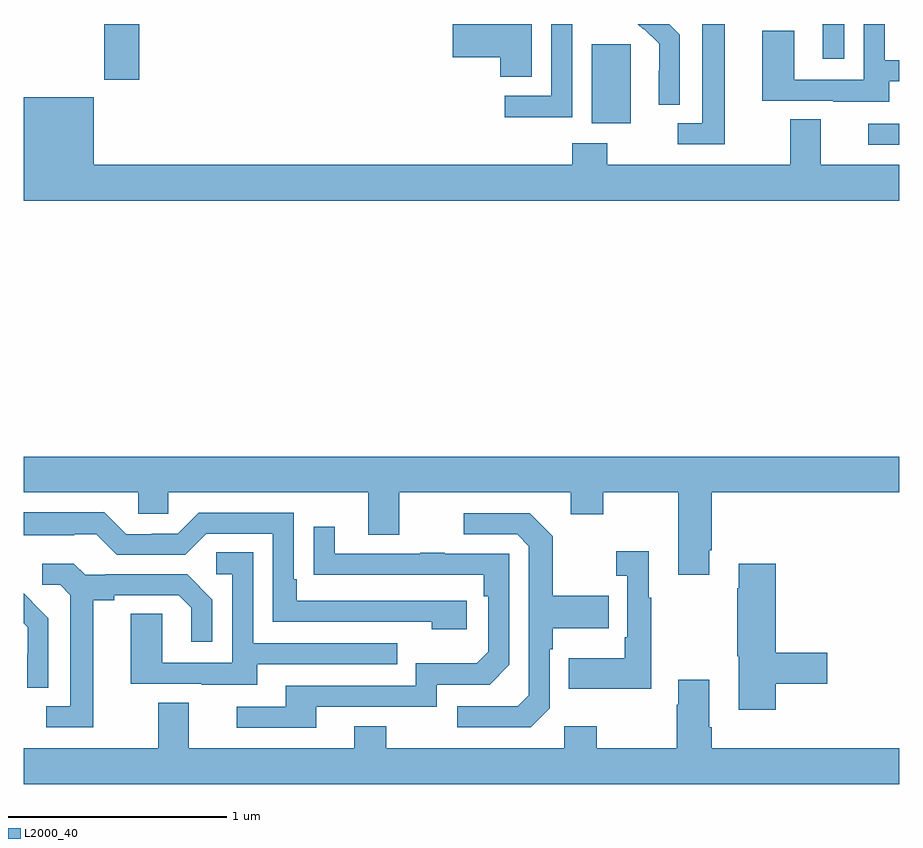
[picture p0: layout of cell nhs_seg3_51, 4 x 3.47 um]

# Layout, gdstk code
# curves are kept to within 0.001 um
import gdstk
lib = gdstk.Library(unit=1e-6, precision=1e-09)
def R(c, l, rs):  # rectangles x0, y0, x1, y1
    for r in rs: c.add(gdstk.rectangle(r[:2], r[2:], *l))
def P(c, l, *ps):  # polygons
    for p in ps: c.add(gdstk.Polygon(p, *l))
L2000_40 = (2000, 40)

nhs_seg3_51 = lib.new_cell('nhs_seg3_51')
R(nhs_seg3_51, L2000_40, [(116.859,691.848,117,691.944), (115.595,691.946,115.774,692.307), (113.368,692.145,113.528,692.4)])
P(nhs_seg3_51, L2000_40, [(116.953,692.139),(117,692.139),(117,692.235),(116.934,692.235),(116.934,692.4),(116.838,692.4),(116.838,692.145),(116.52,692.145),(116.52,692.369),(116.375,692.369),(116.375,692.049),(116.699,692.049),(116.699,692.045),(116.953,692.045)],
  [(116.748,692.4),(116.648,692.4),(116.651,692.397),(116.651,692.241),(116.748,692.241)],
  [(116.203,692.4),(116.099,692.4),(116.099,691.947),(115.989,691.947),(115.989,691.851),(116.203,691.851)],
  [(115.998,692.35),(115.948,692.4),(115.806,692.4),(115.83,692.376),(115.833,692.379),(115.904,692.309),(115.904,692.186),(115.902,692.186),(115.902,692.032),(115.998,692.032)],
  [(115.506,692.4),(115.41,692.4),(115.41,692.073),(115.197,692.073),(115.197,691.975),(115.506,691.975)],
  [(115.321,692.4),(114.96,692.4),(114.96,692.249),(115.178,692.249),(115.178,692.158),(115.321,692.158)],
  [(117,691.756),(116.641,691.756),(116.641,691.964),(116.501,691.964),(116.501,691.756),(115.665,691.756),(115.665,691.855),(115.505,691.855),(115.505,691.756),(113.32,691.756),(113.32,692.065),(113,692.065),(113,691.592),(117,691.592)],
  [(116.131,689.995),(116.144,689.995),(116.144,690.26),(117,690.26),(117,690.424),(113,690.424),(113,690.26),(113.523,690.26),(113.523,690.162),(113.661,690.162),(113.661,690.26),(114.575,690.26),(114.575,690.066),(114.715,690.066),(114.715,690.26),(115.499,690.26),(115.499,690.161),(115.647,690.161),(115.647,690.26),(115.991,690.26),(115.991,689.883),(116.131,689.883)],
  [(115.024,689.766),(114.247,689.766),(114.247,689.863),(114.234,689.863),(114.234,690.168),(113.799,690.168),(113.703,690.072),(113.585,690.072),(113.585,690.069),(113.469,690.069),(113.369,690.169),(113,690.169),(113,690.065),(113.231,690.065),(113.231,690.069),(113.331,690.069),(113.424,689.976),(113.739,689.976),(113.835,690.072),(114.138,690.072),(114.138,689.67),(114.863,689.67),(114.863,689.636),(115.024,689.636)],
  [(115.404,689.274),(115.404,689.543),(115.417,689.543),(115.417,689.639),(115.673,689.639),(115.673,689.787),(115.417,689.787),(115.417,690.059),(115.311,690.165),(115.011,690.165),(115.011,690.069),(115.254,690.069),(115.308,690.015),(115.308,689.334),(115.257,689.283),(114.981,689.283),(114.981,689.187),(115.317,689.187)],
  [(114.337,689.28),(114.888,689.28),(114.888,689.382),(115.128,689.382),(115.218,689.472),(115.218,689.979),(114.923,689.979),(114.923,689.984),(114.811,689.984),(114.811,689.979),(114.421,689.979),(114.421,690.103),(114.325,690.103),(114.325,689.884),(115.102,689.883),(115.102,689.786),(115.122,689.786),(115.122,689.532),(115.069,689.479),(114.792,689.479),(114.792,689.376),(114.197,689.376),(114.197,689.28),(113.973,689.28),(113.973,689.184),(114.337,689.184)],
  [(115.867,689.779),(115.855,689.779),(115.855,689.992),(115.707,689.992),(115.707,689.879),(115.758,689.879),(115.758,689.599),(115.746,689.599),(115.746,689.503),(115.489,689.503),(115.489,689.363),(115.867,689.363)],
  [(114.067,689.475),(114.707,689.475),(114.707,689.571),(114.048,689.571),(114.048,689.987),(113.88,689.987),(113.88,689.886),(113.952,689.886),(113.952,689.481),(113.634,689.481),(113.634,689.705),(113.489,689.705),(113.489,689.385),(113.813,689.385),(113.813,689.381),(114.067,689.381)],
  [(113.317,689.768),(113.413,689.768),(113.413,689.79),(113.708,689.79),(113.765,689.733),(113.765,689.577),(113.862,689.577),(113.862,689.77),(113.746,689.886),(113.374,689.886),(113.374,689.883),(113.28,689.883),(113.228,689.935),(113.085,689.935),(113.085,689.838),(113.166,689.838),(113.213,689.791),(113.213,689.283),(113.103,689.283),(113.103,689.187),(113.317,689.187)],
  [(116.435,689.386),(116.671,689.386),(116.671,689.528),(116.435,689.528),(116.435,689.935),(116.267,689.935),(116.267,689.822),(116.26,689.822),(116.26,689.511),(116.267,689.511),(116.267,689.268),(116.435,689.268)],
  [(113.112,689.686),(113.039,689.759),(113.04,689.76),(113,689.8),(113,689.663),(113.018,689.645),(113.018,689.522),(113.016,689.522),(113.016,689.368),(113.112,689.368)],
  [(117,689.092),(116.144,689.092),(116.144,689.188),(116.131,689.188),(116.131,689.404),(115.991,689.404),(115.991,689.291),(115.984,689.291),(115.984,689.092),(115.617,689.092),(115.617,689.191),(115.47,689.191),(115.47,689.092),(114.657,689.092),(114.657,689.191),(114.509,689.191),(114.509,689.092),(113.755,689.092),(113.755,689.3),(113.615,689.3),(113.615,689.092),(113,689.092),(113,688.928),(117,688.928)])

lib.write_gds('nhs_seg3_51.gds')
